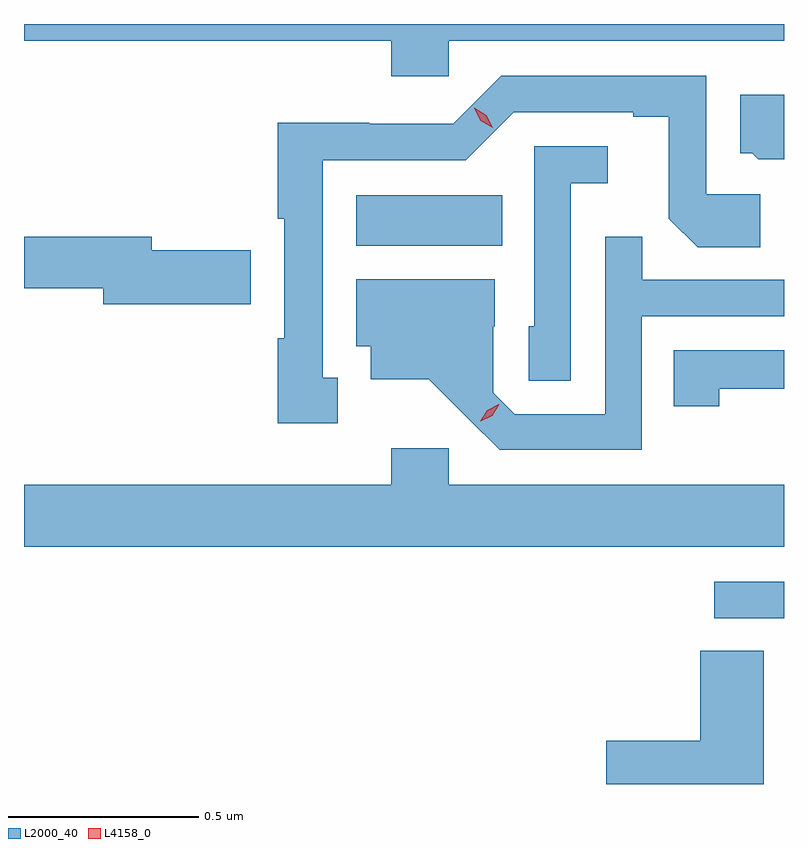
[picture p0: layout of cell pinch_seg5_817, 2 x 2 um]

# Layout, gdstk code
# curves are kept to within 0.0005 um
import gdstk
lib = gdstk.Library(unit=1e-6, precision=1e-09)
def R(c, l, rs):  # rectangles x0, y0, x1, y1
    for r in rs: c.add(gdstk.rectangle(r[:2], r[2:], *l))
def P(c, l, *ps):  # polygons
    for p in ps: c.add(gdstk.Polygon(p, *l))
L2000_40 = (2000, 40)
L4158_0 = (4158, 0)

pinch_seg5_817 = lib.new_cell('pinch_seg5_817')
R(pinch_seg5_817, L2000_40, [(773.235,908.52,773.418,908.616), (772.292,909.5,772.676,909.634)])
P(pinch_seg5_817, L2000_40, [(772.536,910.04),(773.418,910.04),(773.418,910.084),(771.418,910.084),(771.418,910.04),(772.385,910.04),(772.385,909.947),(772.536,909.947)],
  [(772.243,909.153),(772.204,909.153),(772.204,909.726),(772.581,909.726),(772.707,909.852),(773.021,909.852),(773.021,909.84),(773.115,909.84),(773.115,909.572),(773.191,909.496),(773.356,909.496),(773.356,909.636),(773.214,909.636),(773.214,909.948),(772.674,909.948),(772.548,909.822),(772.326,909.822),(772.326,909.824),(772.086,909.824),(772.086,909.571),(772.103,909.571),(772.103,909.257),(772.086,909.257),(772.086,909.033),(772.243,909.033)],
  [(773.418,909.898),(773.303,909.898),(773.303,909.744),(773.334,909.744),(773.35,909.728),(773.418,909.728)],
  [(772.857,909.665),(772.954,909.665),(772.954,909.762),(772.761,909.762),(772.761,909.288),(772.746,909.288),(772.746,909.145),(772.857,909.145)],
  [(773.043,909.315),(773.418,909.315),(773.418,909.411),(773.045,909.411),(773.045,909.524),(772.947,909.524),(772.947,909.057),(772.71,909.057),(772.653,909.114),(772.653,909.288),(772.657,909.288),(772.657,909.412),(772.292,909.412),(772.292,909.236),(772.331,909.236),(772.331,909.149),(772.483,909.149),(772.67,908.964),(773.043,908.964)],
  [(772.015,909.488),(771.754,909.488),(771.754,909.524),(771.418,909.524),(771.418,909.388),(771.626,909.388),(771.626,909.346),(772.015,909.346)],
  [(773.247,909.124),(773.418,909.124),(773.418,909.225),(773.128,909.225),(773.128,909.078),(773.247,909.078)],
  [(773.418,908.872),(772.536,908.872),(772.536,908.968),(772.385,908.968),(772.385,908.872),(771.418,908.872),(771.418,908.708),(773.418,908.708)],
  [(773.365,908.435),(773.198,908.435),(773.198,908.198),(772.95,908.198),(772.95,908.084),(773.365,908.084)])
P(pinch_seg5_817, L4158_0, [(772.619,909.038),(772.619,909.038),(772.637,909.068),(772.667,909.083),(772.668,909.083),(772.668,909.083),(772.65,909.053),(772.62,909.038)],
  [(772.652,909.811),(772.62,909.83),(772.603,909.862),(772.603,909.863),(772.603,909.863),(772.635,909.844),(772.652,909.811),(772.652,909.811)])

lib.write_gds('pinch_seg5_817.gds')
